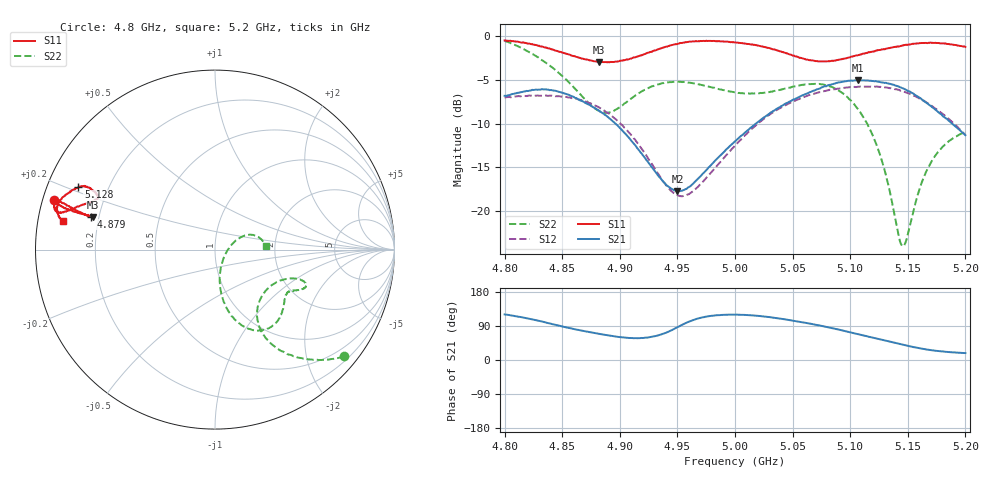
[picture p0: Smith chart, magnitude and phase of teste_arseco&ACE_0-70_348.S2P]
! Network Analyzer HP8722D
! Hewlett-Packard
! Data name: Linha & Wilkinson
! Saver's name: Rodrigo Anjos
! Comments: Teste da utilização de aquisição
! continua pelo VNA HP8722D
! Time and date: 8/5/2025 15:39
!  Frequency  S11  S21  S12  S22
# HZ  S  MA R 50
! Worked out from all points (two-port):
!   401 points, 4.8 GHz to 5.2 GHz, reference 50 ohm
!   highest |S21| = -5.06 dB at 5.107 GHz (marker M1); lowest = -17.7 dB at 4.95 GHz (marker M2)
!   |S21| within 3 dB of the highest: start of sweep to 4.876 GHz; 5.04 GHz to 5.17 GHz (130.9 MHz wide, 2.56 % of centre)
!   lowest |S11| = -3.0 dB at 4.882 GHz (marker M3), VSWR 5.78, Z = 8.79 + j6.35 ohm
!   |S11| at or under -10 dB: nowhere
!   |S22| runs from -24.0 to -0.6 dB; largest |S21 - S12| = 0.73
!   S11 on the Smith chart (normalised r, x): 4.8 GHz: 0.03, +0.15; 4.879 GHz: 0.17, +0.13; 5.128 GHz: 0.09, +0.22; 5.2 GHz: 0.07, +0.09
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4.8e9  0.9394 163.0  0.4545 120.3  0.4442 15.4  0.933 -39.6
4.833e9  0.8663 164.4  0.4957 101.2  0.4557 4.9  0.7221 -54.3
4.867e9  0.7401 165.0  0.4255 77.7  0.4286 -9.9  0.4547 -58.6
4.879e9  0.7135 165.1  0.3845 70.8  0.3991 -17.0  0.383 -50.2
4.882e9  0.7051 165.1  0.3741 69.2  0.3905 -18.6  0.3722 -46.9
4.904e9  0.7253 165.1  0.2801 59.4  0.2991 -30.5  0.4114 -24.4
4.934e9  0.8394 163.7  0.1576 65.5  0.1612 -29.5  0.5288 -19.8
4.95e9  0.8979 162.8  0.1301 86.6  0.1235 -8.2  0.547 -21.9
4.965e9  0.9281 162.8  0.147 106.7  0.1325 15.7  0.5342 -24.4
5e9  0.9166 166.0  0.2502 119.5  0.2372 37.6  0.4752 -29.3
5.033e9  0.8359 164.7  0.3721 111.8  0.3661 32.5  0.4823 -36.7
5.067e9  0.7223 157.6  0.4828 94.9  0.4651 17.3  0.5309 -51.8
5.087e9  0.7217 155.0  0.5346 82.2  0.4957 5.8  0.5 -64.0
5.107e9  0.775 153.7  0.5582 67.9  0.5123 -6.3  0.3802 -76.1
5.118e9  0.8089 154.0  0.5543 60.2  0.5131 -13.3  0.2855 -80.7
5.128e9  0.8364 155.4  0.5413 53.2  0.5101 -19.7  0.1897 -81.8
5.134e9  0.8499 156.4  0.5331 48.8  0.5028 -23.7  0.1331 -77.6
5.142e9  0.8669 158.3  0.5145 43.4  0.4923 -29.1  0.0731 -52.6
5.146e9  0.8805 159.3  0.5011 40.3  0.4814 -31.7  0.06334 -24.6
5.161e9  0.9078 162.6  0.4412 30.6  0.4362 -40.8  0.1391 24.8
5.17e9  0.9126 164.5  0.3981 26.1  0.4022 -45.3  0.1895 24.9
5.2e9  0.8629 169.3  0.2712 18.3  0.2714 -54.2  0.2827 4.3
